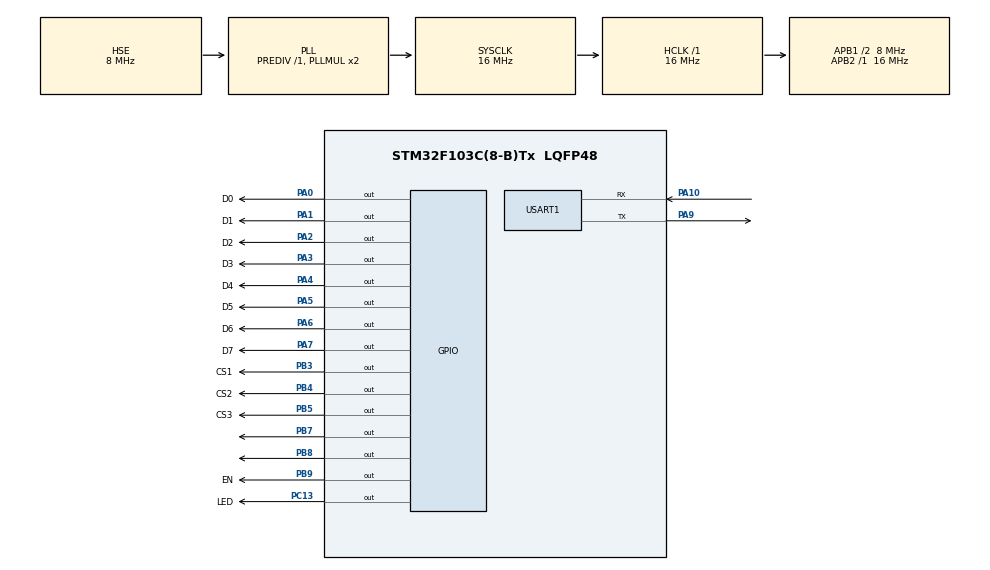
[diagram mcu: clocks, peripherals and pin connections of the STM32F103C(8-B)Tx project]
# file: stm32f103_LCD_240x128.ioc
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Mcu.Family=STM32F1
Mcu.Name=STM32F103C(8-B)Tx
Mcu.Package=LQFP48
NVIC.PriorityGroup=NVIC_PRIORITYGROUP_4
NVIC.USART1_IRQn=true\:0\:0\:false\:false\:true\:true\:true\:true
PA0-WKUP.GPIO_Label=D0
PA0-WKUP.Signal=GPIO_Output
PA1.GPIO_Label=D1
PA1.Signal=GPIO_Output
PA10.Mode=Asynchronous
PA10.Signal=USART1_RX
PA13.Mode=Serial_Wire
PA13.Signal=SYS_JTMS-SWDIO
PA14.Mode=Serial_Wire
PA14.Signal=SYS_JTCK-SWCLK
PA2.GPIO_Label=D2
PA2.Signal=GPIO_Output
PA3.GPIO_Label=D3
PA3.Signal=GPIO_Output
PA4.GPIO_Label=D4
PA4.Signal=GPIO_Output
PA5.GPIO_Label=D5
PA5.Signal=GPIO_Output
PA6.GPIO_Label=D6
PA6.Signal=GPIO_Output
PA7.GPIO_Label=D7
PA7.Signal=GPIO_Output
PA9.Mode=Asynchronous
PA9.Signal=USART1_TX
PB3.GPIO_Label=CS1
PB3.Signal=GPIO_Output
PB4.GPIO_Label=CS2
PB4.Signal=GPIO_Output
PB5.GPIO_Label=CS3
PB5.Signal=GPIO_Output
PB7.Signal=GPIO_Output
PB8.Signal=GPIO_Output
PB9.GPIO_Label=EN
PB9.Signal=GPIO_Output
PC13-TAMPER-RTC.GPIO_Label=LED
PC13-TAMPER-RTC.Signal=GPIO_Output
PD0-OSC_IN.Mode=HSE-External-Oscillator
PD0-OSC_IN.Signal=RCC_OSC_IN
PD1-OSC_OUT.Mode=HSE-External-Oscillator
PD1-OSC_OUT.Signal=RCC_OSC_OUT
ProjectManager.HeapSize=0x200
ProjectManager.StackSize=0x400
ProjectManager.TargetToolchain=STM32CubeIDE
RCC.AHBFreq_Value=16000000
RCC.APB1CLKDivider=RCC_HCLK_DIV2
RCC.APB1Freq_Value=8000000
RCC.APB1TimFreq_Value=16000000
RCC.APB2Freq_Value=16000000
RCC.APB2TimFreq_Value=16000000
RCC.HCLKFreq_Value=16000000
RCC.PLLSourceVirtual=RCC_PLLSOURCE_HSE
RCC.SYSCLKFreq_VALUE=16000000
RCC.SYSCLKSource=RCC_SYSCLKSOURCE_PLLCLK
RCC.USBFreq_Value=16000000
USART1.VirtualMode=VM_ASYNC
board=custom

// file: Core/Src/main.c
/* USER CODE BEGIN Header */
/**
  ******************************************************************************
  * @file           : main.c
  * @brief          : Main program body
  ******************************************************************************
  * @attention
  *
  * Copyright (c) 2025 STMicroelectronics.
  * All rights reserved.
  *
  * This software is licensed under terms that can be found in the LICENSE file
  * in the root directory of this software component.
  * If no LICENSE file comes with this software, it is provided AS-IS.
  *
  ******************************************************************************
  */
/* USER CODE END Header */
#include "main.h"
#include "usart.h"
#include "gpio.h"

/* USER CODE BEGIN Includes */
#include <stdio.h>
#include "ext_glcd.h"
/* USER CODE END Includes */

/* USER CODE BEGIN PV */
uint32_t cur_tick = 0;
uint32_t tmp_tick = 0;

uint8_t rx_data = 0;
/* USER CODE END PV */

void SystemClock_Config(void);

int main(void)
{

  /* MCU Configuration--------------------------------------------------------*/

  /* Reset of all peripherals, Initializes the Flash interface and the Systick. */
  HAL_Init();

  /* Configure the system clock */
  SystemClock_Config();

  /* Initialize all configured peripherals */
  MX_GPIO_Init();
  MX_USART1_UART_Init();
  /* USER CODE BEGIN 2 */

  //HAL_UART_Transmit(&huart1, (uint8_t *)&"Fuck!\n", 6, 0xFFFF);
  printf("\r\nHi!\r\n");
  Init_Ext_GLCD();

  GotoXY(0, 0);
  TestScreen(0xff);
  HAL_Delay(500);
  GotoXY(0, 0);
  TestNetScreen();
  HAL_Delay(500);
  GotoXY(0, 0);
  TestChars();
  HAL_Delay(500);
  TestScroll();
  HAL_Delay(500);
  ClearFullScreen();
  GotoXY(0, 0);

  HAL_UART_Receive_IT(&huart1, &rx_data, 1);

  //TestNetScreen();
  /* USER CODE END 2 */

  /* Infinite loop */
  while (1)
  {

    /* USER CODE BEGIN 3 */

	cur_tick = HAL_GetTick();
	if (cur_tick - tmp_tick >= 500){
	  tmp_tick = cur_tick;

	  HAL_GPIO_TogglePin(GPIOC, GPIO_PIN_13); //toggle led
	}

	if (rx_data)
	{
		WrapPutChar(rx_data);
		//printf("%c\n",rx_data);
		if (rx_data == 13)
		{
			rx_data = 10;
			HAL_UART_Transmit(&huart1, (uint8_t *)&rx_data, 1, 1);
			rx_data = 13;
		}
		HAL_UART_Transmit(&huart1, (uint8_t *)&rx_data, 1, 1);
		rx_data = 0;
	}
  }
  /* USER CODE END 3 */
}

void SystemClock_Config(void)
{
  RCC_OscInitTypeDef RCC_OscInitStruct = {0};
  RCC_ClkInitTypeDef RCC_ClkInitStruct = {0};

  /** Initializes the RCC Oscillators according to the specified parameters
  * in the RCC_OscInitTypeDef structure.
  */
  RCC_OscInitStruct.OscillatorType = RCC_OSCILLATORTYPE_HSE;
  RCC_OscInitStruct.HSEState = RCC_HSE_ON;
  RCC_OscInitStruct.HSEPredivValue = RCC_HSE_PREDIV_DIV1;
  RCC_OscInitStruct.HSIState = RCC_HSI_ON;
  RCC_OscInitStruct.PLL.PLLState = RCC_PLL_ON;
  RCC_OscInitStruct.PLL.PLLSource = RCC_PLLSOURCE_HSE;
  RCC_OscInitStruct.PLL.PLLMUL = RCC_PLL_MUL2;
  if (HAL_RCC_OscConfig(&RCC_OscInitStruct) != HAL_OK)
  {
    Error_Handler();
  }

  /** Initializes the CPU, AHB and APB buses clocks
  */
  RCC_ClkInitStruct.ClockType = RCC_CLOCKTYPE_HCLK|RCC_CLOCKTYPE_SYSCLK
                              |RCC_CLOCKTYPE_PCLK1|RCC_CLOCKTYPE_PCLK2;
  RCC_ClkInitStruct.SYSCLKSource = RCC_SYSCLKSOURCE_PLLCLK;
  RCC_ClkInitStruct.AHBCLKDivider = RCC_SYSCLK_DIV1;
  RCC_ClkInitStruct.APB1CLKDivider = RCC_HCLK_DIV2;
  RCC_ClkInitStruct.APB2CLKDivider = RCC_HCLK_DIV1;

  if (HAL_RCC_ClockConfig(&RCC_ClkInitStruct, FLASH_LATENCY_0) != HAL_OK)
  {
    Error_Handler();
  }
}

/* USER CODE BEGIN 4 */
void HAL_UART_RxCpltCallback(UART_HandleTypeDef *huart)
{

	if (huart->Instance == USART1) {
		HAL_UART_Receive_IT(huart, &rx_data, 1);
	}
}
/* USER CODE END 4 */

void Error_Handler(void)
{
  __disable_irq();
  while (1)
  {
  }
}
